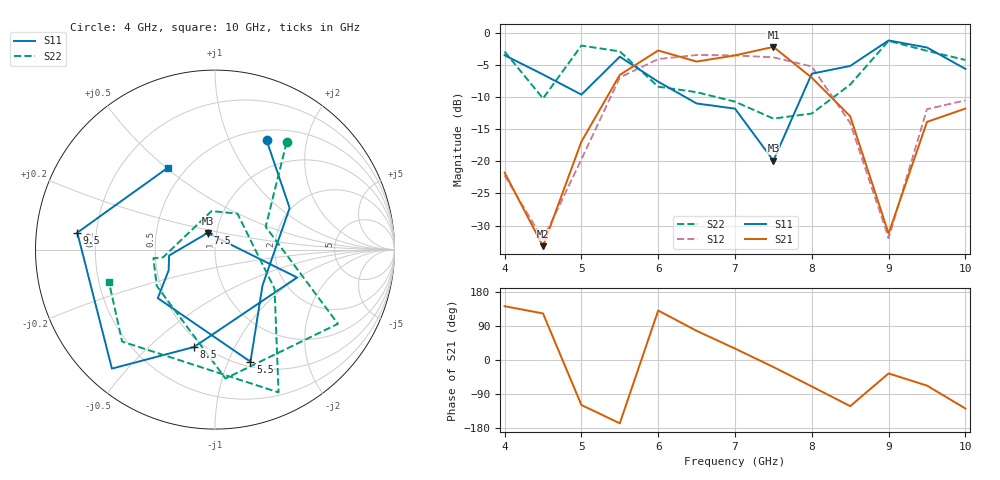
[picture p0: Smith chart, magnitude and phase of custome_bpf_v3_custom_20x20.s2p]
! Generated by EMerge - 2-port S-parameters
! File generated: 2026-06-29 22:17
# GHZ S RI R 50
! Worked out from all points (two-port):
!   13 points, 4 GHz to 10 GHz, reference 50 ohm
!   highest |S21| = -2.14 dB at 7.5 GHz (marker M1); lowest = -33.2 dB at 4.5 GHz (marker M2)
!   |S21| within 3 dB of the highest: 5.68 GHz to 7.812 GHz (2.132 GHz wide, 31.6 % of centre)
!   lowest |S11| = -19.9 dB at 7.5 GHz (marker M3), VSWR 1.23, Z = 45.3 + j8.45 ohm
!   |S11| at or under -10 dB: 6.358 GHz to 7.864 GHz (1.507 GHz wide, 21.2 % of centre)
!   |S22| runs from -13.3 to -1.2 dB; largest |S21 - S12| = 0.13
!   S11 on the Smith chart (normalised r, x): 4 GHz: 0.62, +1.39; 5.5 GHz: 0.55, -1.21; 7.5 GHz: 0.91, +0.17; 8.5 GHz: 0.45, -0.70; 9.5 GHz: 0.13, +0.06; 10 GHz: 0.40, +0.51
4  0.2878 0.6079  -0.0644 0.0504  -0.0614 0.0479  0.399 0.5974
4.5  0.4158 0.2318  -0.0118 0.0183  -0.0133 0.0206  0.2823 0.1272
5  0.2647 -0.1998  -0.0685 -0.125  -0.0504 -0.0907  0.6849 -0.4134
5.5  0.1977 -0.6247  -0.4607 -0.1057  -0.4392 -0.1023  0.0585 -0.7181
6  -0.3187 -0.2705  -0.4762 0.5571  -0.4114 0.4747  -0.3245 -0.2026
6.5  -0.2583 -0.1157  0.135 0.5849  0.1463 0.6594  -0.3432 -0.0481
7  -0.2557 -0.0329  0.5805 0.3366  0.5733 0.348  -0.2891 -0.0427
7.5  -0.0416 0.0924  0.7411 -0.2482  0.614 -0.2063  -0.0189 0.2148
8  0.4572 -0.1554  0.1547 -0.4218  0.1866 -0.5167  0.125 0.2004
8.5  -0.1171 -0.5426  -0.1184 -0.1913  -0.1051 -0.1694  0.3318 -0.218
9  -0.5742 -0.6631  0.0223 -0.0159  0.0209 -0.0141  0.3541 -0.7956
9.5  -0.7672 0.0946  0.0775 -0.1878  0.0987 -0.2355  -0.5176 -0.5122
10  -0.2618 0.4568  -0.1589 -0.2033  -0.1866 -0.2338  -0.591 -0.1801
